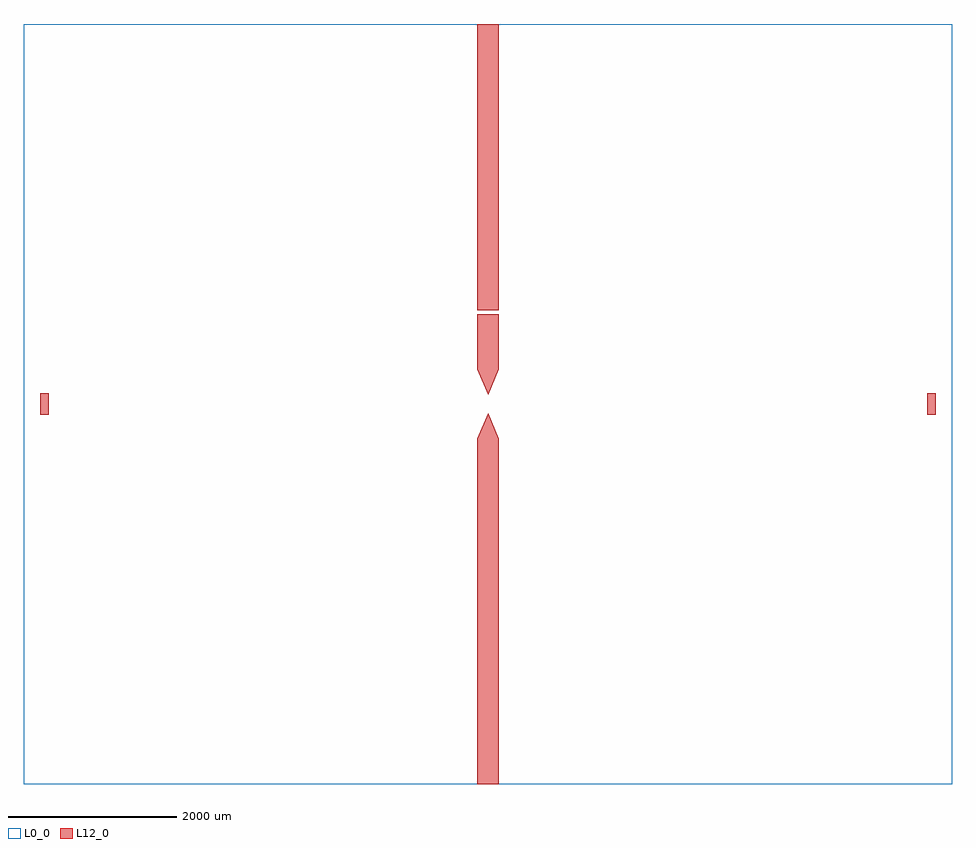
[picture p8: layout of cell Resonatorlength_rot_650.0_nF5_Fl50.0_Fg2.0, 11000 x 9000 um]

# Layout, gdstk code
import gdstk
lib = gdstk.Library(unit=1e-6, precision=1e-09)
def R(c, l, rs):  # rectangles x0, y0, x1, y1
    for r in rs: c.add(gdstk.rectangle(r[:2], r[2:], *l))
def A(c, l, x, y, w, h, nx, ny, dx, dy):  # array of equal rectangles
    R(c, l, [(x+i*dx, y+j*dy, x+i*dx+w, y+j*dy+h) for i in range(nx) for j in range(ny)])
def P(c, l, *ps):  # polygons
    for p in ps: c.add(gdstk.Polygon(p, *l))
L0_0 = (0, 0)
L12_0 = (12, 0)

resonatorlength_rot_650_ = lib.new_cell('Resonatorlength_rot_650.0_nF5_Fl50.0_Fg2.0')
R(resonatorlength_rot_650_, L0_0, [(-5500,-4500,5500,4500)])
A(resonatorlength_rot_650_, L12_0, -125, -1114, 48.4, 50, 3, 1, 100.8, 0)
R(resonatorlength_rot_650_, L12_0, [(-125,-4500,125,-1114), (-74.6,-1112,-26.2,-1062), (26.2,-1112,74.6,-1062), (-125,-1062,125,-412), (-5300,-125,-5200,125), (5200,-125,5300,125), (-125,412,125,1062), (-125,1112,125,4500)])
P(resonatorlength_rot_650_, L12_0, [(-125,-412),(125,-412),(0,-108.5)],
  [(-125,412),(125,412),(0,108.5)])

lib.write_gds('Resonatorlength_rot_650.0_nF5_Fl50.0_Fg2.0.gds')
